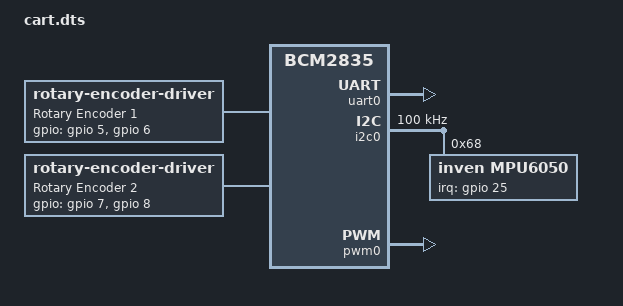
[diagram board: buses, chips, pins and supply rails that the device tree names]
/dts-v1/;
/plugin/;
/ {
	compatible = "brcm,bcm2835";
	chosen {
		bootargs = "console=serial0,115200";
	};

	fragment@0 {
		aliases {
			uart0 = &uart0;
			i2c0 = &i2c0;
			pwm0 = &pwm0;
		};

		soc {
#address-cells = <1>;
#size-cells = <1>;
uart0: serial@7e201000 {
	       compatible = "brcm,bcm2835-aux-uart";
	       reg = <0x7e201000 0x1000>;
	       interrupts = <0x1>;
	       interrupt-parent = <&gpio>;
       };

i2c0: i2c@7e205000 {
	      compatible = "brcm,bcm2835-i2c";
#address-cells = <1>;
#size-cells = <0>;
	      reg = <0x7e205000 0x1000>;
	      interrupts = <0x1>;
	      clock-frequency = <100000>;
	      interrupt-parent = <&gpio>;
mpu6050: mpu6050@68 {
		 compatible = "inven,mpu6050";
		 reg = <0x68>;
		 status = "okay";
		 interrupt-parent = <&gpio>;
		 interrupts = <25>;  // GPIO pin for MPU6050 interrupt
	 };
      };

pwm0: pwm@7e20c000 {
	      compatible = "brcm,bcm2835-pwm";
	      reg = <0x7e20c000 0x1000>;
#pwm-cells = <2>;

motor1_pwm1: motor1_pwm1 {
		     pwm-names = "motor1-channel-1";
		     pwm-channel = <&pwm 0 5000000>;
	     };
motor1_pwm2: motor1_pwm2 {
		     pwm-names = "motor1-channel-2";
		     pwm-channel = <&pwm 1 5000000>;
	     };
motor2_pwm1: motor2_pwm1 {
		     pwm-names = "motor2-channel-1";
		     pwm-channel = <&pwm 2 5000000>;
	     };
motor2_pwm2: motor2_pwm2 {
		     pwm-names = "motor2-channel-2";
		     pwm-channel = <&pwm 3 5000000>;
	     };
      };

encoder1: encoder1 {
		  compatible = "rotary-encoder-driver";
		  gpios = <&gpio 5 0>, <&gpio 6 0>;
		  label = "Rotary Encoder 1";
		  linux,default-trigger = "both";
	  };

encoder2: encoder2 {
		  compatible = "rotary-encoder-driver";
		  gpios = <&gpio 7 0>, <&gpio 8 0>;
		  label = "Rotary Encoder 2";
		  linux,default-trigger = "both";
	  };
		};
	};
};
